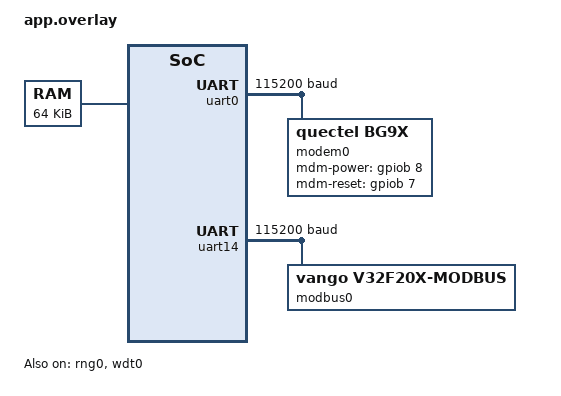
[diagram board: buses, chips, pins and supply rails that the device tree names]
#include <zephyr/dt-bindings/memory-attr/memory-attr-arm.h>

&rng0 { status = "okay"; };
&gpioa { status = "okay"; };
&gpiob { status = "okay"; };

&uart0 {
    status = "okay";
    current-speed = <115200>;
    
    modem0: modem0 {
        compatible = "quectel,bg9x";
        mdm-power-gpios = <&gpiob 8 GPIO_ACTIVE_HIGH>;
        mdm-reset-gpios = <&gpiob 7 GPIO_ACTIVE_HIGH>;
        status = "okay";
    };
};

&uart14 { 
    status = "okay"; 
    current-speed = <115200>; 
    modbus0: modbus0 {
        compatible = "vango,v32f20x-modbus", "zephyr,modbus-serial";
        status = "okay";
    };
};

/* Dimension 2.2: Zero-copy Shared Memory and MPU Isolation */
&sram0 { reg = <0x20000000 DT_SIZE_K(1024)>; };

&ipc_shm_0 {
    zephyr,memory-attr = <( DT_MEM_ARM_MPU_RAM_NOCACHE )>;
};

&ipc_shm_1 {
    zephyr,memory-attr = <( DT_MEM_ARM_MPU_RAM_NOCACHE )>;
};

&flash0 {
    status = "okay";
    partitions {
        /delete-node/ partition@10000;
        /delete-node/ partition@50000;
        /delete-node/ partition@a0000;
        /delete-node/ partition@b0000;
        /delete-node/ partition@f0000;
        /delete-node/ partition@130000;
        /delete-node/ partition@134000;
        /delete-node/ partition@13c000;
        /delete-node/ partition@140000;
        /delete-node/ partition@150000;
        /delete-node/ partition@160000;
        /delete-node/ partition@170000;
        /delete-node/ partition@190000;
        /delete-node/ partition@1b0000;

        compatible = "fixed-partitions";
        #address-cells = <1>;
        #size-cells = <1>;

        /* Phase 5: Dimension 1.1 Topology (2304KB Total) */
        boot_partition: partition@0 {
            label = "mcuboot";
            reg = <0x00000000 DT_SIZE_K(64)>;
        };
        slot0_partition: partition@10000 {
            label = "image-0";
            reg = <0x00010000 DT_SIZE_K(576)>; /* S + NS Primary */
        };
        slot1_partition: partition@A0000 {
            label = "image-1";
            reg = <0x000A0000 DT_SIZE_K(576)>; /* S + NS Secondary */
        };
        
        /* TF-M Security Regions */
        tfm_ps_partition: partition@130000 {
            label = "tfm-ps";
            reg = <0x00130000 DT_SIZE_K(16)>;
        };
        tfm_its_partition: partition@134000 {
            label = "tfm-its";
            reg = <0x00134000 DT_SIZE_K(32)>;
        };
        tfm_nv_counters_partition: partition@13C000 {
            label = "tfm-nv-counters";
            reg = <0x0013C000 DT_SIZE_K(16)>; /* Incl. Backup */
        };

        scratch_partition: partition@140000 {
            label = "image-scratch";
            reg = <0x00140000 DT_SIZE_K(64)>;
        };

        /* Custom & Application Partitions */
        cpumeter_partition: partition@150000 {
            label = "cpumeter";
            reg = <0x00150000 DT_SIZE_K(128)>;
        };
        storage_partition: partition@170000 {
            label = "storage";
            reg = <0x00170000 DT_SIZE_K(128)>;
        };
        model_partition: partition@190000 {
            label = "model";
            reg = <0x00190000 DT_SIZE_K(128)>;
        };
        recovery_partition: partition@1B0000 {
            label = "recovery";
            reg = <0x001B0000 DT_SIZE_K(576)>;
        };
    };
};

&wdt0 {
    status = "okay";
};

/ {
    aliases {
        app-uart = &uart14;
        app-modbus = &modbus0;
        app-modem = &modem0;
        watchdog0 = &wdt0;
    };

    /* Dedicated region for raw ADC waveform sharing */
    waveform_shm: memory@20100000 {
        compatible = "zephyr,memory-region", "mmio-sram";
        reg = <0x20100000 DT_SIZE_K(64)>;
        zephyr,memory-region = "WAVEFORM_SHM";
        zephyr,memory-attr = <( DT_MEM_ARM_MPU_RAM_NOCACHE )>;
        status = "okay";
    };

    chosen {
        zephyr,entropy = &rng0;
        zephyr,code-partition = &slot0_partition;
        zephyr,ipc_shm = &ipc_shm_0;
        zephyr,boot-partition = &boot_partition;
    };

    ipc0: ipc0 {
        compatible = "zephyr,ipc-icmsg";
        tx-region = <&ipc_shm_1>;
        rx-region = <&ipc_shm_0>;
        mboxes = <&mbox 1>, <&mbox 0>;
        mbox-names = "rx", "tx";
        status = "okay";
    };
};
